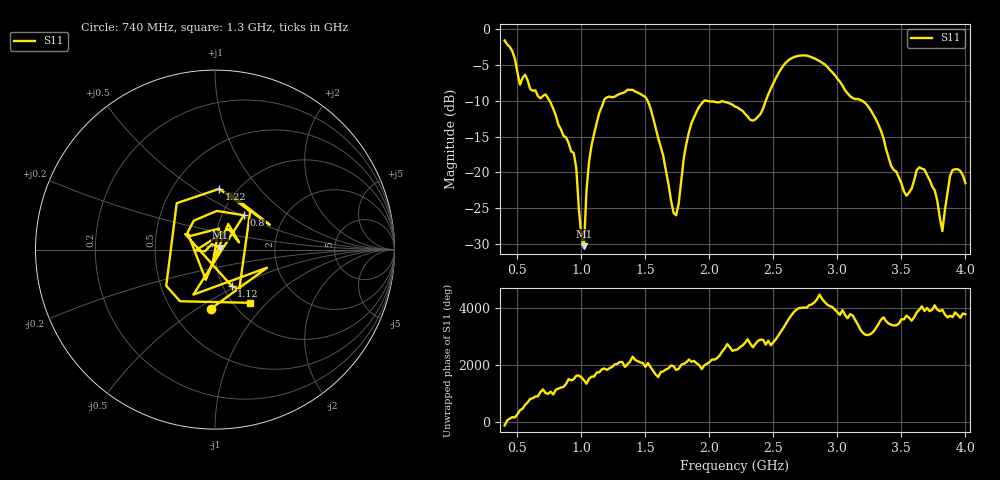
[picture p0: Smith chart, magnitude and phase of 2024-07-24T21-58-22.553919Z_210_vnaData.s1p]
!Created with skrf (http://scikit-rf.org).
# Hz S RI R 50.0
!freq ReS11 ImS11
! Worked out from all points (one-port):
!   181 points, 400 MHz to 4 GHz, reference 50 ohm
!   lowest |S11| = -30.3 dB at 1.02 GHz (marker M1), VSWR 1.06, Z = 52.9 + j1.11 ohm
!   |S11| at or under -10 dB: 1.518 GHz to 1.958 GHz (439.6 MHz wide, 25.3 % of centre); 1.986 GHz to 2.44 GHz (453.9 MHz wide, 20.5 % of centre); 3.194 GHz to end of sweep (the widest 3 of 4)
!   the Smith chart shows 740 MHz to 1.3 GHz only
!   S11 on the Smith chart (normalised r, x): 740 MHz: 0.77, -0.57; 800 MHz: 1.27, +0.52; 1.12 GHz: 1.10, -0.47; 1.22 GHz: 0.83, +0.63; 1.3 GHz: 1.18, -0.80
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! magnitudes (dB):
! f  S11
! 400 MHz  -1.5
! 520 MHz  -7.7
! 740 MHz  -9.6
! 800 MHz  -12.0
! 860 MHz  -14.9
! 940 MHz  -17.3
! 1.02 GHz  -30.3
! 1.06 GHz  -18.5
! 1.12 GHz  -13.1
! 1.22 GHz  -9.4
! 1.3 GHz  -9.0
! 1.52 GHz  -10.1
! 1.72 GHz  -25.7
! 1.76 GHz  -24.4
! 1.82 GHz  -16.0
! 1.92 GHz  -10.8
! 2.2 GHz  -10.8
! 2.36 GHz  -12.6
! 2.66 GHz  -3.9
! 2.9 GHz  -4.9
! 3.1 GHz  -9.4
! 3.26 GHz  -11.3
! 3.56 GHz  -22.8
! 3.68 GHz  -19.6
! 3.76 GHz  -22.5
! 3.82 GHz  -28.2
! 3.9 GHz  -19.7
! 4 GHz  -21.5
